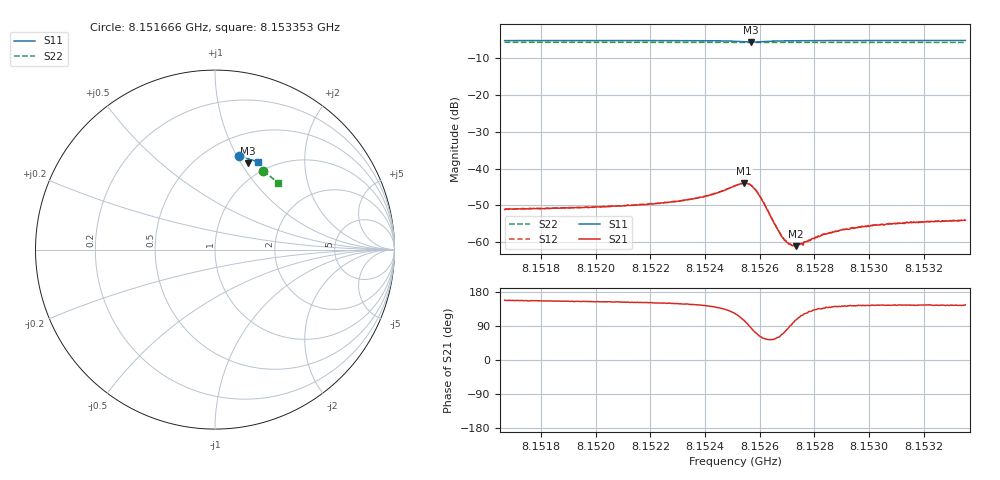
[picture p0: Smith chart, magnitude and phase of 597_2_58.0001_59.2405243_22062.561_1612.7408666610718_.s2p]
#  HZ  S  RI  R  50.00
! Rohde & Schwarz Vector Network Analyzer
! Rohde-Schwarz,ZNB20-2Port,1311601062101988,3.16
! Created: UTC 3/21/2024, 1:17:04 AM
! freq[Hz]  re:S11  im:S11  re:S21  im:S21  re:S12  im:S12  re:S22  im:S22
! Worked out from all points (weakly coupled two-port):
!   401 points, 8.151666 GHz to 8.153353 GHz, reference 50 ohm
!   highest |S21| = -43.99 dB at 8.152543 GHz (marker M1); lowest = -61.0 dB at 8.152733 GHz (marker M2)
!   lowest |S11| = -5.8 dB at 8.152569 GHz (marker M3), VSWR 3.12, Z = 41 + j53.7 ohm
!   |S11| at or under -10 dB: nowhere
!   |S22| runs from -5.8 to -5.8 dB; largest |S21 - S12| = 0.00013
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8.151666e9  0.1351 0.5229  -0.00258 0.00106  -0.0026 0.00112  0.2693 0.4359
8.1519486e9  0.1549 0.5178  -0.00266 0.00128  -0.0027 0.00131  0.2842 0.4258
8.1522312e9  0.1754 0.5112  -0.00292 0.00167  -0.00293 0.00168  0.2989 0.4152
8.1523155e9  0.1821 0.5084  -0.00311 0.00196  -0.00313 0.00198  0.3033 0.4117
8.1523956e9  0.189 0.5044  -0.00334 0.00243  -0.00338 0.00251  0.3073 0.4085
8.1524505e9  0.1941 0.5  -0.00353 0.0032  -0.00351 0.00324  0.31 0.4061
8.1525095e9  0.1978 0.4902  -0.00312 0.00491  -0.00306 0.00497  0.313 0.4036
8.1525433e9  0.1936 0.482  -0.00153 0.00613  -0.00149 0.0062  0.3143 0.402
8.1525686e9  0.1849 0.4807  0.000576 0.00585  0.000658 0.00593  0.315 0.4012
8.1525854e9  0.1803 0.4844  0.00158 0.00484  0.00166 0.00486  0.3158 0.4009
8.1525981e9  0.1786 0.4882  0.0019 0.0039  0.00198 0.00392  0.3165 0.4004
8.1526613e9  0.1853 0.4999  0.000838 0.00135  0.000883 0.00134  0.3197 0.3984
8.1526824e9  0.1884 0.5011  0.000434 0.0011  0.000469 0.00111  0.3207 0.3975
8.1526951e9  0.1901 0.5016  0.000244 0.00102  0.000276 0.00103  0.3215 0.3969
8.152712e9  0.1921 0.5018  -1.7e-05 0.000937  -3.83e-06 0.000947  0.3224 0.3963
8.152733e9  0.1948 0.5018  -0.000247 0.000856  -0.000215 0.000876  0.3234 0.3954
8.1527921e9  0.2008 0.501  -0.00072 0.000864  -0.000715 0.000843  0.3264 0.3929
8.1528343e9  0.2046 0.5002  -0.000948 0.000876  -0.00095 0.000884  0.3284 0.3911
8.152906e9  0.2104 0.4985  -0.00117 0.00093  -0.00116 0.000965  0.3319 0.3881
8.153003e9  0.2176 0.4959  -0.00134 0.00099  -0.00138 0.00102  0.3366 0.3839
8.1530747e9  0.2226 0.4938  -0.00144 0.00103  -0.00146 0.00106  0.3398 0.3809
8.153353e9  0.2411 0.4858  -0.00164 0.00113  -0.00162 0.0012  0.3527 0.3685
